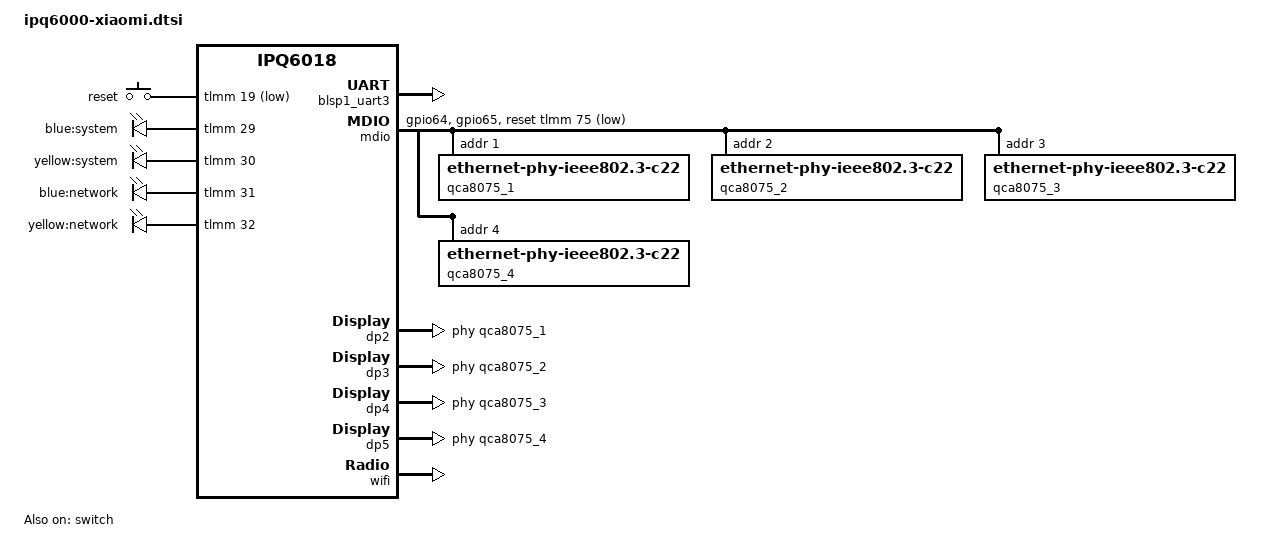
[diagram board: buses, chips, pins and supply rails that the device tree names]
// SPDX-License-Identifier: GPL-2.0-or-later OR MIT

/dts-v1/;

#include "ipq6018-512m.dtsi"
#include "ipq6018-ess.dtsi"
#include "ipq6018-mp5496.dtsi"
#include "ipq6018-nss.dtsi"

#include <dt-bindings/gpio/gpio.h>
#include <dt-bindings/input/input.h>

/ {
	aliases {
		serial0 = &blsp1_uart3;
		led-boot = &led_yellow;
		led-failsafe = &led_yellow;
		led-running = &led_blue;
		led-upgrade = &led_yellow;
		label-mac-device = &dp2;

		ethernet1 = &dp2;
		ethernet2 = &dp3;
		ethernet3 = &dp4;
		ethernet4 = &dp5;
	};

	chosen {
		stdout-path = "serial0:115200n8";
	};

	keys {
		compatible = "gpio-keys";

		reset {
			label = "reset";
			linux,code = <KEY_RESTART>;
			gpios = <&tlmm 19 GPIO_ACTIVE_LOW>;
		};
	};

	leds {
		compatible = "gpio-leds";

		led_blue: system-blue {
			label = "blue:system";
			gpios = <&tlmm 29 GPIO_ACTIVE_HIGH>;
		};

		led_yellow: system-yellow {
			label = "yellow:system";
			gpios = <&tlmm 30 GPIO_ACTIVE_HIGH>;
		};

		network-blue {
			label = "blue:network";
			gpios = <&tlmm 31 GPIO_ACTIVE_HIGH>;
		};

		network-yellow {
			label = "yellow:network";
			gpios = <&tlmm 32 GPIO_ACTIVE_HIGH>;
		};
	};
};

&tlmm {
	mdio_pins: mdio-pins {
		mdc {
			pins = "gpio64";
			function = "mdc";
			drive-strength = <8>;
			bias-pull-up;
		};

		mdio {
			pins = "gpio65";
			function = "mdio";
			drive-strength = <8>;
			bias-pull-up;
		};
	};
};

&blsp1_uart3 {
	pinctrl-0 = <&serial_3_pins>;
	pinctrl-names = "default";
	status = "okay";
};

&mdio {
	status = "okay";

	pinctrl-0 = <&mdio_pins>;
	pinctrl-names = "default";
	reset-gpios = <&tlmm 75 GPIO_ACTIVE_LOW>;

	qca8075_1: ethernet-phy@1 {
		compatible = "ethernet-phy-ieee802.3-c22";
		reg = <1>;
	};

	qca8075_2: ethernet-phy@2 {
		compatible = "ethernet-phy-ieee802.3-c22";
		reg = <2>;
	};

	qca8075_3: ethernet-phy@3 {
		compatible = "ethernet-phy-ieee802.3-c22";
		reg = <3>;
	};

	qca8075_4: ethernet-phy@4 {
		compatible = "ethernet-phy-ieee802.3-c22";
		reg = <4>;
	};
};

&switch {
	status = "okay";

	switch_cpu_bmp = <0x1>;  /* cpu port bitmap */
	switch_lan_bmp = <0x1e>; /* lan port bitmap */
	switch_wan_bmp = <0x20>; /* wan port bitmap */
	switch_inner_bmp = <0xc0>; /*inner port bitmap*/
	switch_mac_mode = <0x0>; /* mac mode for uniphy 0*/
	switch_mac_mode1 = <0xff>; /* mac mode for uniphy 1*/
	switch_mac_mode2 = <0xff>; /* mac mode for uniphy 2*/

	qcom,port_phyinfo {
		port@0 {
			port_id = <1>;
			phy_address = <0>;
		};
		port@1 {
			port_id = <2>;
			phy_address = <1>;
		};
		port@2 {
			port_id = <3>;
			phy_address = <2>;
		};
		port@3 {
			port_id = <4>;
			phy_address = <3>;
		};
		port@4 {
			port_id = <5>;
			phy_address = <4>;
		};
	};
};

&edma {
	status = "okay";
};

&dp2 {
	status = "okay";
	phy-handle = <&qca8075_1>;
	label = "lan1";
};

&dp3 {
	status = "okay";
	phy-handle = <&qca8075_2>;
	label = "lan2";
};

&dp4 {
	status = "okay";
	phy-handle = <&qca8075_3>;
	label = "lan3";
};

&dp5 {
	status = "okay";
	phy-handle = <&qca8075_4>;
	label = "wan";
};

&wifi {
	status = "okay";
};
